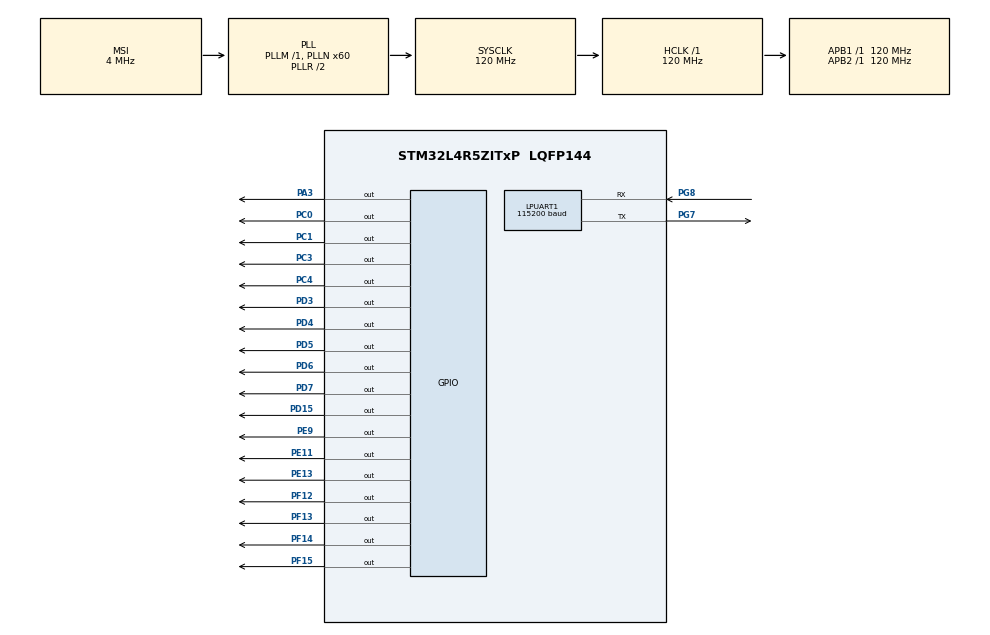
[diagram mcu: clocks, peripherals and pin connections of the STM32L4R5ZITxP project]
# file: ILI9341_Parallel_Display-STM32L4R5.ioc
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LPUART1.BaudRate=115200
LPUART1.WordLength=UART_WORDLENGTH_8B
Mcu.Family=STM32L4
Mcu.Name=STM32L4R5ZITxP
Mcu.Package=LQFP144
NVIC.PriorityGroup=NVIC_PRIORITYGROUP_4
PA0.Signal=S_TIM2_CH1
PA1.Signal=ADCx_IN6
PA10.Signal=USB_OTG_FS_ID
PA13\ (JTMS/SWDIO).Signal=SYS_JTMS-SWDIO
PA14\ (JTCK/SWCLK).Signal=SYS_JTCK-SWCLK
PA3.GPIO_Speed=GPIO_SPEED_FREQ_HIGH
PA3.Signal=GPIO_Output
PA4.Signal=SPI1_NSS
PA6.Signal=SPI1_MISO
PA7.Signal=SPI1_MOSI
PA8.Signal=USB_OTG_FS_SOF
PA9.Signal=USB_OTG_FS_VBUS
PB0.Signal=S_TIM3_CH3
PB1.Signal=ADCx_IN16
PB10.Signal=S_TIM2_CH3
PB12.Signal=SAI2_FS_A
PB13.Signal=SAI2_SCK_A
PB14.Signal=S_TIM15_CH1
PB15.Signal=SAI2_SD_A
PB2.Signal=COMP1_INP
PB3\ (JTDO/TRACESWO).Signal=SPI3_SCK
PB4\ (NJTRST).Signal=SPI3_MISO
PB5.Signal=SPI3_MOSI
PB6.Signal=COMP2_INP
PB8.Signal=I2C1_SCL
PB9.Signal=I2C1_SDA
PC0.PinState=GPIO_PIN_SET
PC0.Signal=GPIO_Output
PC1.PinState=GPIO_PIN_SET
PC1.Signal=GPIO_Output
PC10.Signal=SDMMC1_D2
PC11.Signal=SDMMC1_D3
PC12.Signal=SDMMC1_CK
PC13.Signal=SYS_WKUP2
PC14-OSC32_IN\ (PC14).Signal=RCC_OSC32_IN
PC15-OSC32_OUT\ (PC15).Signal=RCC_OSC32_OUT
PC2.Signal=ADCx_IN3
PC3.GPIO_Speed=GPIO_SPEED_FREQ_HIGH
PC3.Signal=GPIO_Output
PC4.GPIO_Speed=GPIO_SPEED_FREQ_HIGH
PC4.Signal=GPIO_Output
PC5.Signal=ADCx_IN14
PC6.Signal=SAI2_MCLK_A
PC7.Signal=S_TIM3_CH2
PC8.Signal=SDMMC1_D0
PC9.Signal=SDMMC1_D1
PD0.Signal=CAN1_RX
PD14.Signal=S_TIM4_CH3
PD15.GPIO_Speed=GPIO_SPEED_FREQ_HIGH
PD15.Signal=GPIO_Output
PD2.Signal=SDMMC1_CMD
PD3.Signal=GPIO_Output
PD4.Signal=GPIO_Output
PD5.Signal=GPIO_Output
PD6.Signal=GPIO_Output
PD7.Signal=GPIO_Output
PD8.Signal=USART3_TX
PD9.Signal=USART3_RX
PE11.GPIO_Speed=GPIO_SPEED_FREQ_HIGH
PE11.Signal=GPIO_Output
PE13.GPIO_Speed=GPIO_SPEED_FREQ_HIGH
PE13.Signal=GPIO_Output
PE9.GPIO_Speed=GPIO_SPEED_FREQ_HIGH
PE9.Signal=GPIO_Output
PF0.Signal=I2C2_SDA
PF1.Signal=I2C2_SCL
PF12.GPIO_Speed=GPIO_SPEED_FREQ_HIGH
PF12.Signal=GPIO_Output
PF13.GPIO_Speed=GPIO_SPEED_FREQ_HIGH
PF13.Signal=GPIO_Output
PF14.GPIO_Speed=GPIO_SPEED_FREQ_HIGH
PF14.Signal=GPIO_Output
PF15.GPIO_Speed=GPIO_SPEED_FREQ_HIGH
PF15.Signal=GPIO_Output
PF2.Signal=I2C2_SMBA
PF7.Signal=SAI1_MCLK_B
PG7.Mode=Asynchronous
PG7.Signal=LPUART1_TX
PG8.Mode=Asynchronous
PG8.Signal=LPUART1_RX
PH0-OSC_IN\ (PH0).Signal=RCC_OSC_IN
PH1-OSC_OUT\ (PH1).Signal=RCC_OSC_OUT
ProjectManager.HeapSize=0x200
ProjectManager.StackSize=0x400
ProjectManager.TargetToolchain=STM32CubeIDE
RCC.ADCFreq_Value=16000000
RCC.AHBFreq_Value=120000000
RCC.APB1Freq_Value=120000000
RCC.APB1TimFreq_Value=120000000
RCC.APB2Freq_Value=120000000
RCC.APB2TimFreq_Value=120000000
RCC.CortexFreq_Value=120000000
RCC.HCLKFreq_Value=120000000
RCC.HSE_VALUE=8000000
RCC.HSI48_VALUE=48000000
RCC.HSI_VALUE=16000000
RCC.LSE_VALUE=32768
RCC.MSI_VALUE=4000000
RCC.PLLN=60
RCC.SYSCLKFreq_VALUE=120000000
RCC.SYSCLKSource=RCC_SYSCLKSOURCE_PLLCLK
RCC.USBFreq_Value=16000000
RCC.VCOOutputFreq_Value=240000000
SH.ADCx_IN14.0=ADC1_IN14
SH.ADCx_IN16.0=ADC1_IN16
SH.ADCx_IN3.0=ADC1_IN3
SH.ADCx_IN6.0=ADC1_IN6
SH.S_TIM15_CH1.0=TIM15_CH1
SH.S_TIM2_CH1.0=TIM2_CH1
SH.S_TIM2_CH3.0=TIM2_CH3
SH.S_TIM3_CH2.0=TIM3_CH2
SH.S_TIM3_CH3.0=TIM3_CH3
SH.S_TIM4_CH3.0=TIM4_CH3
TIM1.Period=0xffff-1
TIM1.Prescaler=120-1
VP_TIM1_VS_ClockSourceINT.Mode=Internal
board=NUCLEO-L4R5ZI-P

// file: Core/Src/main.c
/* USER CODE BEGIN Header */
/**
  ******************************************************************************
  * @file           : main.c
  * @brief          : Main program body
  ******************************************************************************
  * @attention
  *
  * Copyright (c) 2025 STMicroelectronics.
  * All rights reserved.
  *
  * This software is licensed under terms that can be found in the LICENSE file
  * in the root directory of this software component.
  * If no LICENSE file comes with this software, it is provided AS-IS.
  *
  ******************************************************************************
  */
/* USER CODE END Header */
#include "main.h"

/* USER CODE BEGIN Includes */
#include "lcd_touch.h"
#include "stdlib.h"
#include "space_impact.h"
#include "stdio.h"
#include "IO_Test.h"

int8_t start_move;
MoveState* mstate;
uint32_t ret32;
/* USER CODE END Includes */

UART_HandleTypeDef hlpuart1;

TIM_HandleTypeDef htim1;

void SystemClock_Config(void);
static void MX_GPIO_Init(void);
static void MX_TIM1_Init(void);
static void MX_LPUART1_UART_Init(void);

/* USER CODE BEGIN 0 */

int __io_putchar(int ch)
	{
	HAL_UART_Transmit(&hlpuart1, (uint8_t *)&ch, 1, 10);
//	HAL_Delay(5);		// Slow Printing
	return ch;
	}

/* USER CODE END 0 */

int main(void)
{

  /* MCU Configuration--------------------------------------------------------*/

  /* Reset of all peripherals, Initializes the Flash interface and the Systick. */
  HAL_Init();

  /* Configure the system clock */
  SystemClock_Config();

  /* Initialize all configured peripherals */
  MX_GPIO_Init();
  MX_TIM1_Init();
  MX_LPUART1_UART_Init();
  /* USER CODE BEGIN 2 */
  printf("Hello ILI9341_Parallel_Display\r\n");

  HAL_TIM_Base_Start(&htim1);

// Check the microsecond delay based on TIM1 with HAL's 1ms delay (delay_us_tim1())
  printf("Testing microsecond delay...\r\n");
  for (int i = 0; i < 25; i++) {
      uint32_t start = __HAL_TIM_GET_COUNTER(&htim1);
      HAL_Delay(1); // 1 ms delay
      uint32_t end = __HAL_TIM_GET_COUNTER(&htim1);
      printf("TIM1 Microseconds in a 1ms HAL delay: %lu microseconds\r\n", end - start);
  }

  ret32 = Read_ID();
  printf("Read_ID(0xD3) = 0x%08lX = %ld\n\r", ret32, ret32);

  /* Run GPIO test function */
  // IO_Test();

  LCD_init();

  LCD_FillScreen(CYAN);

  //LCD_SetTextSize(1);
  //LCD_SetTextColor(GREEN, BLACK);

  SpaceShip rocket;
  initSpaceShip(&rocket);
  drawSpaceShip(&rocket);

  Bullet bul[BULLETS_QUANTITY];
  initBulletHolder(bul, &rocket);

  Asteroid ast[ASTEROIDS_QUANTITY];
  initAsteroidArmy(ast);

  uint8_t i;

  uint16_t next_try_timer = 0;

  /* USER CODE END 2 */

  /* Infinite loop */
  /* USER CODE BEGIN WHILE */
  while (1)
  {
	     calculateAsteroidArmy(ast);
	     calculateBulletHolder(bul);
	     analizeSituation(&rocket, ast, bul);

			if (!HAL_GPIO_ReadPin(GPIOB, GPIO_PIN_12)) start_move = 1;

			else if (!HAL_GPIO_ReadPin(GPIOB, GPIO_PIN_13)) start_move = -1;

			else start_move = 0;

//			if ((start_move == -1)||(start_move == 1)) start_move = 0;

	     if (rocket.state == ACTIVATE)
	     	 moveSpaceShip(&rocket, &start_move);

	     for (i=0; i<BULLETS_QUANTITY; i++)
	    	 moveBullet(&bul[i]);

	     for (i=0; i<ASTEROIDS_QUANTITY; i++)
	    	 moveAsteroid(&ast[i]);

	     if (rocket.state == DEACTIVATE) {
	    	 next_try_timer++;
	    	 if (next_try_timer == NEXT_TRY_DELAY) {
	    		 rocket.state = ACTIVATE;
	    		 drawSpaceShip(&rocket);
	    		 next_try_timer = 0;
	    	 }
	     }

	     HAL_Delay(SPEED);
    /* USER CODE END WHILE */

  }
}

void SystemClock_Config(void)
{
  RCC_OscInitTypeDef RCC_OscInitStruct = {0};
  RCC_ClkInitTypeDef RCC_ClkInitStruct = {0};

  /** Configure the main internal regulator output voltage
  */
  if (HAL_PWREx_ControlVoltageScaling(PWR_REGULATOR_VOLTAGE_SCALE1_BOOST) != HAL_OK)
  {
    Error_Handler();
  }

  /** Initializes the RCC Oscillators according to the specified parameters
  * in the RCC_OscInitTypeDef structure.
  */
  RCC_OscInitStruct.OscillatorType = RCC_OSCILLATORTYPE_MSI;
  RCC_OscInitStruct.MSIState = RCC_MSI_ON;
  RCC_OscInitStruct.MSICalibrationValue = 0;
  RCC_OscInitStruct.MSIClockRange = RCC_MSIRANGE_6;
  RCC_OscInitStruct.PLL.PLLState = RCC_PLL_ON;
  RCC_OscInitStruct.PLL.PLLSource = RCC_PLLSOURCE_MSI;
  RCC_OscInitStruct.PLL.PLLM = 1;
  RCC_OscInitStruct.PLL.PLLN = 60;
  RCC_OscInitStruct.PLL.PLLP = RCC_PLLP_DIV2;
  RCC_OscInitStruct.PLL.PLLQ = RCC_PLLQ_DIV2;
  RCC_OscInitStruct.PLL.PLLR = RCC_PLLR_DIV2;
  if (HAL_RCC_OscConfig(&RCC_OscInitStruct) != HAL_OK)
  {
    Error_Handler();
  }

  /** Initializes the CPU, AHB and APB buses clocks
  */
  RCC_ClkInitStruct.ClockType = RCC_CLOCKTYPE_HCLK|RCC_CLOCKTYPE_SYSCLK
                              |RCC_CLOCKTYPE_PCLK1|RCC_CLOCKTYPE_PCLK2;
  RCC_ClkInitStruct.SYSCLKSource = RCC_SYSCLKSOURCE_PLLCLK;
  RCC_ClkInitStruct.AHBCLKDivider = RCC_SYSCLK_DIV1;
  RCC_ClkInitStruct.APB1CLKDivider = RCC_HCLK_DIV1;
  RCC_ClkInitStruct.APB2CLKDivider = RCC_HCLK_DIV1;

  if (HAL_RCC_ClockConfig(&RCC_ClkInitStruct, FLASH_LATENCY_5) != HAL_OK)
  {
    Error_Handler();
  }
}

static void MX_LPUART1_UART_Init(void)
{

  hlpuart1.Instance = LPUART1;
  hlpuart1.Init.BaudRate = 115200;
  hlpuart1.Init.WordLength = UART_WORDLENGTH_8B;
  hlpuart1.Init.StopBits = UART_STOPBITS_1;
  hlpuart1.Init.Parity = UART_PARITY_NONE;
  hlpuart1.Init.Mode = UART_MODE_TX_RX;
  hlpuart1.Init.HwFlowCtl = UART_HWCONTROL_NONE;
  hlpuart1.Init.OneBitSampling = UART_ONE_BIT_SAMPLE_DISABLE;
  hlpuart1.Init.ClockPrescaler = UART_PRESCALER_DIV1;
  hlpuart1.AdvancedInit.AdvFeatureInit = UART_ADVFEATURE_NO_INIT;
  hlpuart1.FifoMode = UART_FIFOMODE_DISABLE;
  if (HAL_UART_Init(&hlpuart1) != HAL_OK)
  {
    Error_Handler();
  }
  if (HAL_UARTEx_SetTxFifoThreshold(&hlpuart1, UART_TXFIFO_THRESHOLD_1_8) != HAL_OK)
  {
    Error_Handler();
  }
  if (HAL_UARTEx_SetRxFifoThreshold(&hlpuart1, UART_RXFIFO_THRESHOLD_1_8) != HAL_OK)
  {
    Error_Handler();
  }
  if (HAL_UARTEx_DisableFifoMode(&hlpuart1) != HAL_OK)
  {
    Error_Handler();
  }

}

static void MX_TIM1_Init(void)
{

  TIM_ClockConfigTypeDef sClockSourceConfig = {0};
  TIM_MasterConfigTypeDef sMasterConfig = {0};

  htim1.Instance = TIM1;
  htim1.Init.Prescaler = 120-1;
  htim1.Init.CounterMode = TIM_COUNTERMODE_UP;
  htim1.Init.Period = 0xffff-1;
  htim1.Init.ClockDivision = TIM_CLOCKDIVISION_DIV1;
  htim1.Init.RepetitionCounter = 0;
  htim1.Init.AutoReloadPreload = TIM_AUTORELOAD_PRELOAD_DISABLE;
  if (HAL_TIM_Base_Init(&htim1) != HAL_OK)
  {
    Error_Handler();
  }
  sClockSourceConfig.ClockSource = TIM_CLOCKSOURCE_INTERNAL;
  if (HAL_TIM_ConfigClockSource(&htim1, &sClockSourceConfig) != HAL_OK)
  {
    Error_Handler();
  }
  sMasterConfig.MasterOutputTrigger = TIM_TRGO_RESET;
  sMasterConfig.MasterOutputTrigger2 = TIM_TRGO2_RESET;
  sMasterConfig.MasterSlaveMode = TIM_MASTERSLAVEMODE_DISABLE;
  if (HAL_TIMEx_MasterConfigSynchronization(&htim1, &sMasterConfig) != HAL_OK)
  {
    Error_Handler();
  }

}

static void MX_GPIO_Init(void)
{
  GPIO_InitTypeDef GPIO_InitStruct = {0};

  /* GPIO Ports Clock Enable */
  __HAL_RCC_GPIOC_CLK_ENABLE();
  __HAL_RCC_GPIOF_CLK_ENABLE();
  __HAL_RCC_GPIOH_CLK_ENABLE();
  __HAL_RCC_GPIOA_CLK_ENABLE();
  __HAL_RCC_GPIOB_CLK_ENABLE();
  __HAL_RCC_GPIOE_CLK_ENABLE();
  __HAL_RCC_GPIOD_CLK_ENABLE();
  __HAL_RCC_GPIOG_CLK_ENABLE();
  HAL_PWREx_EnableVddIO2();

  /*Configure GPIO pin Output Level */
  HAL_GPIO_WritePin(GPIOC, GPIO_PIN_0|GPIO_PIN_1, GPIO_PIN_SET);

  /*Configure GPIO pin Output Level */
  HAL_GPIO_WritePin(GPIOC, GPIO_PIN_3|GPIO_PIN_4, GPIO_PIN_RESET);

  /*Configure GPIO pin Output Level */
  HAL_GPIO_WritePin(GPIOA, GPIO_PIN_3, GPIO_PIN_RESET);

  /*Configure GPIO pin Output Level */
  HAL_GPIO_WritePin(GPIOF, GPIO_PIN_12|GPIO_PIN_13|GPIO_PIN_14|GPIO_PIN_15, GPIO_PIN_RESET);

  /*Configure GPIO pin Output Level */
  HAL_GPIO_WritePin(GPIOE, GPIO_PIN_9|GPIO_PIN_11|GPIO_PIN_13, GPIO_PIN_RESET);

  /*Configure GPIO pin Output Level */
  HAL_GPIO_WritePin(GPIOD, GPIO_PIN_15|GPIO_PIN_3|GPIO_PIN_4|GPIO_PIN_5
                          |GPIO_PIN_6|GPIO_PIN_7, GPIO_PIN_RESET);

  /*Configure GPIO pins : PF0 PF1 PF2 */
  GPIO_InitStruct.Pin = GPIO_PIN_0|GPIO_PIN_1|GPIO_PIN_2;
  GPIO_InitStruct.Mode = GPIO_MODE_AF_OD;
  GPIO_InitStruct.Pull = GPIO_NOPULL;
  GPIO_InitStruct.Speed = GPIO_SPEED_FREQ_VERY_HIGH;
  GPIO_InitStruct.Alternate = GPIO_AF4_I2C2;
  HAL_GPIO_Init(GPIOF, &GPIO_InitStruct);

  /*Configure GPIO pin : PF7 */
  GPIO_InitStruct.Pin = GPIO_PIN_7;
  GPIO_InitStruct.Mode = GPIO_MODE_AF_PP;
  GPIO_InitStruct.Pull = GPIO_NOPULL;
  GPIO_InitStruct.Speed = GPIO_SPEED_FREQ_LOW;
  GPIO_InitStruct.Alternate = GPIO_AF13_SAI1;
  HAL_GPIO_Init(GPIOF, &GPIO_InitStruct);

  /*Configure GPIO pins : PC0 PC1 */
  GPIO_InitStruct.Pin = GPIO_PIN_0|GPIO_PIN_1;
  GPIO_InitStruct.Mode = GPIO_MODE_OUTPUT_PP;
  GPIO_InitStruct.Pull = GPIO_NOPULL;
  GPIO_InitStruct.Speed = GPIO_SPEED_FREQ_LOW;
  HAL_GPIO_Init(GPIOC, &GPIO_InitStruct);

  /*Configure GPIO pins : PC2 PC5 */
  GPIO_InitStruct.Pin = GPIO_PIN_2|GPIO_PIN_5;
  GPIO_InitStruct.Mode = GPIO_MODE_ANALOG_ADC_CONTROL;
  GPIO_InitStruct.Pull = GPIO_NOPULL;
  HAL_GPIO_Init(GPIOC, &GPIO_InitStruct);

  /*Configure GPIO pins : PC3 PC4 */
  GPIO_InitStruct.Pin = GPIO_PIN_3|GPIO_PIN_4;
  GPIO_InitStruct.Mode = GPIO_MODE_OUTPUT_PP;
  GPIO_InitStruct.Pull = GPIO_NOPULL;
  GPIO_InitStruct.Speed = GPIO_SPEED_FREQ_HIGH;
  HAL_GPIO_Init(GPIOC, &GPIO_InitStruct);

  /*Configure GPIO pin : PA0 */
  GPIO_InitStruct.Pin = GPIO_PIN_0;
  GPIO_InitStruct.Mode = GPIO_MODE_AF_PP;
  GPIO_InitStruct.Pull = GPIO_NOPULL;
  GPIO_InitStruct.Speed = GPIO_SPEED_FREQ_LOW;
  GPIO_InitStruct.Alternate = GPIO_AF1_TIM2;
  HAL_GPIO_Init(GPIOA, &GPIO_InitStruct);

  /*Configure GPIO pin : PA1 */
  GPIO_InitStruct.Pin = GPIO_PIN_1;
  GPIO_InitStruct.Mode = GPIO_MODE_ANALOG_ADC_CONTROL;
  GPIO_InitStruct.Pull = GPIO_NOPULL;
  HAL_GPIO_Init(GPIOA, &GPIO_InitStruct);

  /*Configure GPIO pin : PA3 */
  GPIO_InitStruct.Pin = GPIO_PIN_3;
  GPIO_InitStruct.Mode = GPIO_MODE_OUTPUT_PP;
  GPIO_InitStruct.Pull = GPIO_NOPULL;
  GPIO_InitStruct.Speed = GPIO_SPEED_FREQ_HIGH;
  HAL_GPIO_Init(GPIOA, &GPIO_InitStruct);

  /*Configure GPIO pins : PA4 PA6 PA7 */
  GPIO_InitStruct.Pin = GPIO_PIN_4|GPIO_PIN_6|GPIO_PIN_7;
  GPIO_InitStruct.Mode = GPIO_MODE_AF_PP;
  GPIO_InitStruct.Pull = GPIO_NOPULL;
  GPIO_InitStruct.Speed = GPIO_SPEED_FREQ_VERY_HIGH;
  GPIO_InitStruct.Alternate = GPIO_AF5_SPI1;
  HAL_GPIO_Init(GPIOA, &GPIO_InitStruct);

  /*Configure GPIO pin : PB0 */
  GPIO_InitStruct.Pin = GPIO_PIN_0;
  GPIO_InitStruct.Mode = GPIO_MODE_AF_PP;
  GPIO_InitStruct.Pull = GPIO_NOPULL;
  GPIO_InitStruct.Speed = GPIO_SPEED_FREQ_LOW;
  GPIO_InitStruct.Alternate = GPIO_AF2_TIM3;
  HAL_GPIO_Init(GPIOB, &GPIO_InitStruct);

  /*Configure GPIO pin : PB1 */
  GPIO_InitStruct.Pin = GPIO_PIN_1;
  GPIO_InitStruct.Mode = GPIO_MODE_ANALOG_ADC_CONTROL;
  GPIO_InitStruct.Pull = GPIO_NOPULL;
  HAL_GPIO_Init(GPIOB, &GPIO_InitStruct);

  /*Configure GPIO pins : PB2 PB6 */
  GPIO_InitStruct.Pin = GPIO_PIN_2|GPIO_PIN_6;
  GPIO_InitStruct.Mode = GPIO_MODE_ANALOG;
  GPIO_InitStruct.Pull = GPIO_NOPULL;
  HAL_GPIO_Init(GPIOB, &GPIO_InitStruct);

  /*Configure GPIO pins : PF12 PF13 PF14 PF15 */
  GPIO_InitStruct.Pin = GPIO_PIN_12|GPIO_PIN_13|GPIO_PIN_14|GPIO_PIN_15;
  GPIO_InitStruct.Mode = GPIO_MODE_OUTPUT_PP;
  GPIO_InitStruct.Pull = GPIO_NOPULL;
  GPIO_InitStruct.Speed = GPIO_SPEED_FREQ_HIGH;
  HAL_GPIO_Init(GPIOF, &GPIO_InitStruct);

  /*Configure GPIO pins : PE9 PE11 PE13 */
  GPIO_InitStruct.Pin = GPIO_PIN_9|GPIO_PIN_11|GPIO_PIN_13;
  GPIO_InitStruct.Mode = GPIO_MODE_OUTPUT_PP;
  GPIO_InitStruct.Pull = GPIO_NOPULL;
  GPIO_InitStruct.Speed = GPIO_SPEED_FREQ_HIGH;
  HAL_GPIO_Init(GPIOE, &GPIO_InitStruct);

  /*Configure GPIO pin : PB10 */
  GPIO_InitStruct.Pin = GPIO_PIN_10;
  GPIO_InitStruct.Mode = GPIO_MODE_AF_PP;
  GPIO_InitStruct.Pull = GPIO_NOPULL;
  GPIO_InitStruct.Speed = GPIO_SPEED_FREQ_LOW;
  GPIO_InitStruct.Alternate = GPIO_AF1_TIM2;
  HAL_GPIO_Init(GPIOB, &GPIO_InitStruct);

  /*Configure GPIO pins : PB12 PB13 PB15 */
  GPIO_InitStruct.Pin = GPIO_PIN_12|GPIO_PIN_13|GPIO_PIN_15;
  GPIO_InitStruct.Mode = GPIO_MODE_AF_PP;
  GPIO_InitStruct.Pull = GPIO_NOPULL;
  GPIO_InitStruct.Speed = GPIO_SPEED_FREQ_LOW;
  GPIO_InitStruct.Alternate = GPIO_AF13_SAI2;
  HAL_GPIO_Init(GPIOB, &GPIO_InitStruct);

  /*Configure GPIO pin : PB14 */
  GPIO_InitStruct.Pin = GPIO_PIN_14;
  GPIO_InitStruct.Mode = GPIO_MODE_AF_PP;
  GPIO_InitStruct.Pull = GPIO_NOPULL;
  GPIO_InitStruct.Speed = GPIO_SPEED_FREQ_LOW;
  GPIO_InitStruct.Alternate = GPIO_AF14_TIM15;
  HAL_GPIO_Init(GPIOB, &GPIO_InitStruct);

  /*Configure GPIO pins : PD8 PD9 */
  GPIO_InitStruct.Pin = GPIO_PIN_8|GPIO_PIN_9;
  GPIO_InitStruct.Mode = GPIO_MODE_AF_PP;
  GPIO_InitStruct.Pull = GPIO_NOPULL;
  GPIO_InitStruct.Speed = GPIO_SPEED_FREQ_VERY_HIGH;
  GPIO_InitStruct.Alternate = GPIO_AF7_USART3;
  HAL_GPIO_Init(GPIOD, &GPIO_InitStruct);

  /*Configure GPIO pin : PD14 */
  GPIO_InitStruct.Pin = GPIO_PIN_14;
  GPIO_InitStruct.Mode = GPIO_MODE_AF_PP;
  GPIO_InitStruct.Pull = GPIO_NOPULL;
  GPIO_InitStruct.Speed = GPIO_SPEED_FREQ_LOW;
  GPIO_InitStruct.Alternate = GPIO_AF2_TIM4;
  HAL_GPIO_Init(GPIOD, &GPIO_InitStruct);

  /*Configure GPIO pin : PD15 */
  GPIO_InitStruct.Pin = GPIO_PIN_15;
  GPIO_InitStruct.Mode = GPIO_MODE_OUTPUT_PP;
  GPIO_InitStruct.Pull = GPIO_NOPULL;
  GPIO_InitStruct.Speed = GPIO_SPEED_FREQ_HIGH;
  HAL_GPIO_Init(GPIOD, &GPIO_InitStruct);

  /*Configure GPIO pin : PC6 */
  GPIO_InitStruct.Pin = GPIO_PIN_6;
  GPIO_InitStruct.Mode = GPIO_MODE_AF_PP;
  GPIO_InitStruct.Pull = GPIO_NOPULL;
  GPIO_InitStruct.Speed = GPIO_SPEED_FREQ_LOW;
  GPIO_InitStruct.Alternate = GPIO_AF13_SAI2;
  HAL_GPIO_Init(GPIOC, &GPIO_InitStruct);

  /*Configure GPIO pin : PC7 */
  GPIO_InitStruct.Pin = GPIO_PIN_7;
  GPIO_InitStruct.Mode = GPIO_MODE_AF_PP;
  GPIO_InitStruct.Pull = GPIO_NOPULL;
  GPIO_InitStruct.Speed = GPIO_SPEED_FREQ_LOW;
  GPIO_InitStruct.Alternate = GPIO_AF2_TIM3;
  HAL_GPIO_Init(GPIOC, &GPIO_InitStruct);

  /*Configure GPIO pins : PC8 PC9 PC10 PC11
                           PC12 */
  GPIO_InitStruct.Pin = GPIO_PIN_8|GPIO_PIN_9|GPIO_PIN_10|GPIO_PIN_11
                          |GPIO_PIN_12;
  GPIO_InitStruct.Mode = GPIO_MODE_AF_PP;
  GPIO_InitStruct.Pull = GPIO_NOPULL;
  GPIO_InitStruct.Speed = GPIO_SPEED_FREQ_VERY_HIGH;
  GPIO_InitStruct.Alternate = GPIO_AF12_SDMMC1;
  HAL_GPIO_Init(GPIOC, &GPIO_InitStruct);

  /*Configure GPIO pins : PA8 PA10 */
  GPIO_InitStruct.Pin = GPIO_PIN_8|GPIO_PIN_10;
  GPIO_InitStruct.Mode = GPIO_MODE_AF_PP;
  GPIO_InitStruct.Pull = GPIO_NOPULL;
  GPIO_InitStruct.Speed = GPIO_SPEED_FREQ_VERY_HIGH;
  GPIO_InitStruct.Alternate = GPIO_AF10_OTG_FS;
  HAL_GPIO_Init(GPIOA, &GPIO_InitStruct);

  /*Configure GPIO pin : PA9 */
  GPIO_InitStruct.Pin = GPIO_PIN_9;
  GPIO_InitStruct.Mode = GPIO_MODE_INPUT;
  GPIO_InitStruct.Pull = GPIO_NOPULL;
  HAL_GPIO_Init(GPIOA, &GPIO_InitStruct);

  /*Configure GPIO pin : PD0 */
  GPIO_InitStruct.Pin = GPIO_PIN_0;
  GPIO_InitStruct.Mode = GPIO_MODE_AF_PP;
  GPIO_InitStruct.Pull = GPIO_NOPULL;
  GPIO_InitStruct.Speed = GPIO_SPEED_FREQ_VERY_HIGH;
  GPIO_InitStruct.Alternate = GPIO_AF9_CAN1;
  HAL_GPIO_Init(GPIOD, &GPIO_InitStruct);

  /*Configure GPIO pin : PD2 */
  GPIO_InitStruct.Pin = GPIO_PIN_2;
  GPIO_InitStruct.Mode = GPIO_MODE_AF_PP;
  GPIO_InitStruct.Pull = GPIO_NOPULL;
  GPIO_InitStruct.Speed = GPIO_SPEED_FREQ_VERY_HIGH;
  GPIO_InitStruct.Alternate = GPIO_AF12_SDMMC1;
  HAL_GPIO_Init(GPIOD, &GPIO_InitStruct);

  /*Configure GPIO pins : PD3 PD4 PD5 PD6
                           PD7 */
  GPIO_InitStruct.Pin = GPIO_PIN_3|GPIO_PIN_4|GPIO_PIN_5|GPIO_PIN_6
                          |GPIO_PIN_7;
  GPIO_InitStruct.Mode = GPIO_MODE_OUTPUT_PP;
  GPIO_InitStruct.Pull = GPIO_NOPULL;
  GPIO_InitStruct.Speed = GPIO_SPEED_FREQ_LOW;
  HAL_GPIO_Init(GPIOD, &GPIO_InitStruct);

  /*Configure GPIO pins : PB3 PB4 PB5 */
  GPIO_InitStruct.Pin = GPIO_PIN_3|GPIO_PIN_4|GPIO_PIN_5;
  GPIO_InitStruct.Mode = GPIO_MODE_AF_PP;
  GPIO_InitStruct.Pull = GPIO_NOPULL;
  GPIO_InitStruct.Speed = GPIO_SPEED_FREQ_VERY_HIGH;
  GPIO_InitStruct.Alternate = GPIO_AF6_SPI3;
  HAL_GPIO_Init(GPIOB, &GPIO_InitStruct);

  /*Configure GPIO pins : PB8 PB9 */
  GPIO_InitStruct.Pin = GPIO_PIN_8|GPIO_PIN_9;
  GPIO_InitStruct.Mode = GPIO_MODE_AF_OD;
  GPIO_InitStruct.Pull = GPIO_NOPULL;
  GPIO_InitStruct.Speed = GPIO_SPEED_FREQ_VERY_HIGH;
  GPIO_InitStruct.Alternate = GPIO_AF4_I2C1;
  HAL_GPIO_Init(GPIOB, &GPIO_InitStruct);

}

void Error_Handler(void)
{
  __disable_irq();
  while (1)
  {
  }
}
